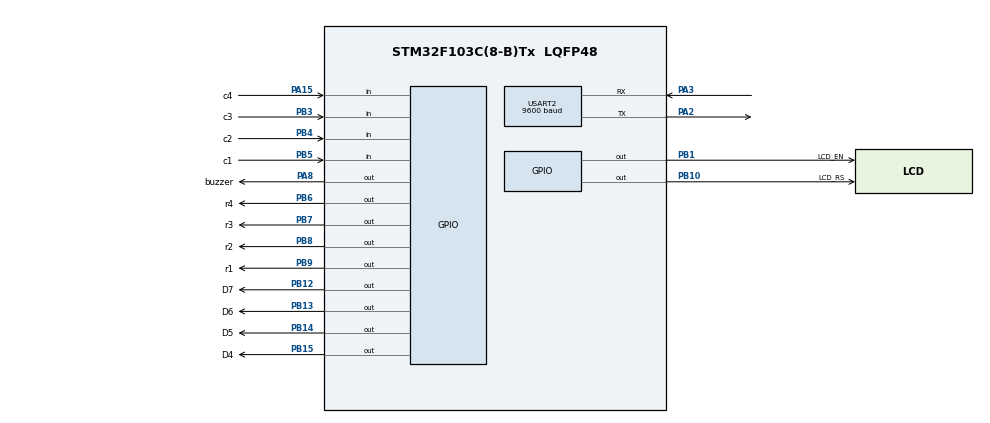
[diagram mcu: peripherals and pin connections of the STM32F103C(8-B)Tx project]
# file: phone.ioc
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Mcu.Family=STM32F1
Mcu.Name=STM32F103C(8-B)Tx
Mcu.Package=LQFP48
NVIC.PriorityGroup=NVIC_PRIORITYGROUP_4
NVIC.TIM2_IRQn=true\:0\:0\:false\:false\:true\:true\:true\:true
NVIC.TIM3_IRQn=true\:0\:0\:false\:false\:true\:true\:true\:true
NVIC.USART2_IRQn=true\:0\:0\:false\:false\:true\:true\:true\:true
PA13.Mode=Serial_Wire
PA13.Signal=SYS_JTMS-SWDIO
PA14.Mode=Serial_Wire
PA14.Signal=SYS_JTCK-SWCLK
PA15.GPIO_Label=c4
PA15.GPIO_PuPd=GPIO_PULLUP
PA15.Signal=GPIO_Input
PA2.Mode=Asynchronous
PA2.Signal=USART2_TX
PA3.Mode=Asynchronous
PA3.Signal=USART2_RX
PA8.GPIO_Label=buzzer
PA8.Signal=GPIO_Output
PB1.GPIO_Label=LCD_EN
PB1.Signal=GPIO_Output
PB10.GPIO_Label=LCD_RS
PB10.Signal=GPIO_Output
PB12.GPIO_Label=D7
PB12.Signal=GPIO_Output
PB13.GPIO_Label=D6
PB13.Signal=GPIO_Output
PB14.GPIO_Label=D5
PB14.Signal=GPIO_Output
PB15.GPIO_Label=D4
PB15.Signal=GPIO_Output
PB3.GPIO_Label=c3
PB3.GPIO_PuPd=GPIO_PULLUP
PB3.Signal=GPIO_Input
PB4.GPIO_Label=c2
PB4.GPIO_PuPd=GPIO_PULLUP
PB4.Signal=GPIO_Input
PB5.GPIO_Label=c1
PB5.GPIO_PuPd=GPIO_PULLUP
PB5.Signal=GPIO_Input
PB6.GPIO_Label=r4
PB6.Signal=GPIO_Output
PB7.GPIO_Label=r3
PB7.Signal=GPIO_Output
PB8.GPIO_Label=r2
PB8.Signal=GPIO_Output
PB9.GPIO_Label=r1
PB9.Signal=GPIO_Output
PD0-OSC_IN.Mode=HSE-External-Oscillator
PD0-OSC_IN.Signal=RCC_OSC_IN
PD1-OSC_OUT.Mode=HSE-External-Oscillator
PD1-OSC_OUT.Signal=RCC_OSC_OUT
ProjectManager.HeapSize=0x200
ProjectManager.StackSize=0x400
ProjectManager.TargetToolchain=STM32CubeIDE
RCC.APB1Freq_Value=8000000
RCC.APB2Freq_Value=8000000
TIM2.AutoReloadPreload=TIM_AUTORELOAD_PRELOAD_ENABLE
TIM2.Period=50
TIM2.Prescaler=35999
TIM3.AutoReloadPreload=TIM_AUTORELOAD_PRELOAD_ENABLE
TIM3.Period=720
TIM3.Prescaler=8999
USART2.BaudRate=9600
USART2.VirtualMode=VM_ASYNC
VP_TIM2_VS_ClockSourceINT.Mode=Internal
VP_TIM3_VS_ClockSourceINT.Mode=Internal
board=custom

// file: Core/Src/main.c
/* USER CODE BEGIN Header */
/**
  ******************************************************************************
  * @file           : main.c
  * @brief          : Main program body
  ******************************************************************************
  * @attention
  *
  * Copyright (c) 2023 STMicroelectronics.
  * All rights reserved.
  *
  * This software is licensed under terms that can be found in the LICENSE file
  * in the root directory of this software component.
  * If no LICENSE file comes with this software, it is provided AS-IS.
  *
  ******************************************************************************
  */
/* USER CODE END Header */
#include "main.h"

/* USER CODE BEGIN Includes */
#include <string.h>
#include "../Inc/lcd.h"
#include "../Inc/keypad_4x4.h"

/* USER CODE END Includes */

TIM_HandleTypeDef htim2;
TIM_HandleTypeDef htim3;

UART_HandleTypeDef huart2;

/* USER CODE BEGIN PV */

// LCD
LCD_t Lcd;

// Keyboard
uint8_t keyboard;
char number[11];
uint8_t posArray = 0;

// Comming call
uint8_t incomingCallRX[20];

// I check the conection
uint8_t checkConectionRX[15];
uint8_t hasConnection = 1;

// Call
uint8_t isCallRX[20];
uint8_t cont = 0;

// Main menu
uint8_t flag = 1;

/* USER CODE END PV */

void SystemClock_Config(void);
static void MX_GPIO_Init(void);
static void MX_USART2_UART_Init(void);
static void MX_TIM2_Init(void);
static void MX_TIM3_Init(void);
/* USER CODE BEGIN PFP */
void initialScreen();
void connectionSIM808();
int isFinishedCall();
void endCall();
/* USER CODE END PFP */

int main(void)
{

  /* MCU Configuration--------------------------------------------------------*/

  /* Reset of all peripherals, Initializes the Flash interface and the Systick. */
  HAL_Init();

  /* Configure the system clock */
  SystemClock_Config();

  /* Initialize all configured peripherals */
  MX_GPIO_Init();
  MX_USART2_UART_Init();
  MX_TIM2_Init();
  MX_TIM3_Init();
  /* USER CODE BEGIN 2 */

  Lcd.RS_port = LCD_RS_GPIO_Port;
  Lcd.RS_pin = LCD_RS_Pin;
  Lcd.EN_port = LCD_EN_GPIO_Port;
  Lcd.EN_pin = LCD_EN_Pin;
  Lcd.D4_port = D4_GPIO_Port;
  Lcd.D4_pin = D4_Pin;
  Lcd.D5_port = D5_GPIO_Port;
  Lcd.D5_pin = D5_Pin;
  Lcd.D6_port = D6_GPIO_Port;
  Lcd.D6_pin = D6_Pin;
  Lcd.D7_port = D7_GPIO_Port;
  Lcd.D7_pin = D7_Pin;

  lcd_begin(&Lcd, 16, 2, LCD_5x8DOTS);

  	memset(incomingCallRX, 0, sizeof(incomingCallRX));

  	// Calling Line Identification Presentation
	char at_command[] = "AT+CLIP=1\r\n";
	HAL_UART_Transmit(&huart2, (uint8_t*)at_command, strlen(at_command), HAL_MAX_DELAY);

	// I check the connection
  	connectionSIM808();
  /* USER CODE END 2 */

  /* Infinite loop */
  /* USER CODE BEGIN WHILE */

    /* Infinite loop */
    /* USER CODE BEGIN WHILE */
    while (1)
    {
    	 keyboard = Keypad_Get_Char();
    	    if(hasConnection == 1){
    	    	if(flag == 1){
    	    		initialScreen();
    	    		flag = 0;
    	    	}

    	    	if(HAL_UART_Receive_IT(&huart2, incomingCallRX, sizeof(incomingCallRX)) == HAL_OK){
    	    		if(strstr((char*)incomingCallRX, "+CLIP:")){
    	    			HAL_TIM_Base_Start_IT(&htim2);
    	    			HAL_TIM_Base_Start_IT(&htim3);
    	    			lcd_clear(&Lcd);
    	    			lcd_home(&Lcd);
    	    			lcd_print(&Lcd, "Llamada!!!");
    	    			lcd_setCursor(&Lcd, 0, 1);
    	    			while(1){
    	    				keyboard = Keypad_Get_Char();

    	    				if(cont == 15){
    	    					HAL_TIM_Base_Stop_IT(&htim2);
    	    					HAL_TIM_Base_Stop_IT(&htim3);
    	    					HAL_GPIO_WritePin(buzzer_GPIO_Port, buzzer_Pin, 0);
    	    					cont= 0;
    	    					endCall();
    	    					break;
    	    				}

    	    				if(keyboard == 'A'){
    	    					char at[6] = "ATH0\r\n";
    	    					HAL_UART_Transmit(&huart2, (uint8_t*)at, strlen(at), HAL_MAX_DELAY);
    	    					HAL_TIM_Base_Stop_IT(&htim2);
    	    					HAL_GPIO_WritePin(buzzer_GPIO_Port, buzzer_Pin, 0);
    	    					flag = 1;
    	    					break;
    	    				}
    	    				if(keyboard == 'D'){

    	    					HAL_TIM_Base_Stop_IT(&htim2);
    	    					HAL_GPIO_WritePin(buzzer_GPIO_Port, buzzer_Pin, 0);
    	    					lcd_clear(&Lcd);
    	    					lcd_home(&Lcd);

    	    					if(isFinishedCall() == 0){
    	    						lcd_print(&Lcd, "LLamada en");
    	    						lcd_setCursor(&Lcd, 0, 1);
    	    						lcd_print(&Lcd, "curso");

    	    					} else{
    	    						lcd_print(&Lcd, "LLamada");
    	    						lcd_setCursor(&Lcd, 0, 1);
    	    						lcd_print(&Lcd, "finalizada");
    	    						HAL_Delay(2000);
    	    						flag = 1;
    	    					}
    	    					while(1){
    	    						if(flag == 1){
    	    							break;
    	    						}
    	    						keyboard = Keypad_Get_Char();
    	    						if(keyboard == 'A'){
    	    							char at[5] = "ATH\r\n";
    	    							HAL_UART_Transmit(&huart2, (uint8_t*)at, strlen(at), HAL_MAX_DELAY);
    	    							flag = 1;
    	    							break;
    	    						}
    	    					}
    	    				}
    	    			}
    	    		}
    	    	}

    	    if((keyboard == '0' || keyboard == '1' || keyboard == '2' ||
    	    	keyboard == '3' || keyboard == '4' || keyboard == '5' ||
				keyboard == '6' || keyboard == '7' || keyboard == '8' ||
				keyboard == '9') && posArray < 10 ){
    	    		number[posArray] = keyboard;
    	    		number[posArray + 1] = '\0';
    	    		posArray++;

    	    	lcd_write(&Lcd, keyboard);
    	    }

    	    if(keyboard == 'D'){
    	    	connectionSIM808();
    	    	if(posArray == 10){
    	    		char at_command[15] = "ATD";
    	    		strcat(at_command, number);
    	    		at_command[13] = ';';
    	    		at_command[14] = '\0';
    	    		at_command[14] = 0x0d;
    	    		HAL_UART_Transmit(&huart2, (uint8_t*)at_command, strlen(at_command), HAL_MAX_DELAY);
    	    		HAL_TIM_Base_Start_IT(&htim3);
    	    		lcd_clear(&Lcd);
    	    		lcd_home(&Lcd);
    	    		lcd_print(&Lcd, "Marcando...");
    	    		lcd_setCursor(&Lcd, 0, 2);
    	    		lcd_print(&Lcd, number);
    	    		while(1){

    	    			keyboard = Keypad_Get_Char();
    	    			if(cont == 20){
    	    				HAL_TIM_Base_Stop_IT(&htim3);
    	    				cont= 0;
    	    				endCall();
    	    				break;
    	    			}
    	    			if(keyboard == 'A'){
    	    				endCall();
    	    				break;
    	    			}
    	    		}

    	    	}

    	    }
    	    if(keyboard == 'A'){
    	    	if (posArray > 0) {
    	    		posArray--;
    	    		number[posArray] = '\0';
    	    		lcd_clearRow1(&Lcd);
    	    		lcd_print(&Lcd,number);
    	    	}
    	    }

    	    	} else{
    	    		if(keyboard == '*'){
    	    			connectionSIM808();
    	    	}
    	    }
    /* USER CODE END WHILE */

    }
}

void initialScreen(){
	lcd_clear(&Lcd);
	lcd_home(&Lcd);
	lcd_print(&Lcd, "Numero:");
	lcd_cursor(&Lcd);
	lcd_setCursor(&Lcd, 0, 1);
	lcd_blink(&Lcd);
}

void connectionSIM808(){

	HAL_UART_Receive(&huart2, checkConectionRX, sizeof(checkConectionRX), 20);
	char at_command[] = "AT\r\n";
	  	HAL_UART_Transmit(&huart2, (uint8_t*)at_command, strlen(at_command), HAL_MAX_DELAY);
		HAL_UART_Receive(&huart2, checkConectionRX, 20,1000);
	if(strstr((char*)checkConectionRX, "OK") != NULL){
		hasConnection = 1;
	} else{
		lcd_clear(&Lcd);
				lcd_home(&Lcd);
				lcd_print(&Lcd, "Conectando...");
				lcd_setCursor(&Lcd, 0, 1);
				lcd_print(&Lcd, "Presiona *");
				hasConnection = 0;

	}

}

int isFinishedCall(){

	HAL_UART_Receive(&huart2, isCallRX, 20, 20);
	char at_command[] = "ATA\r\n";
	  	HAL_UART_Transmit(&huart2, (uint8_t*)at_command, strlen(at_command), HAL_MAX_DELAY);
		HAL_UART_Receive(&huart2, isCallRX, 20,1500);
	if(strstr((char*)isCallRX, "ERROR") != NULL){
		return 1;
	} else{
		return 0;
	}

}

void endCall(){
	char at_command[] = "ATH0\r\n";
	HAL_UART_Transmit(&huart2, (uint8_t*)at_command, strlen(at_command), HAL_MAX_DELAY);
	for (int i = 0; i < 10; i++) {
		number[i] = '\0';
	}
	posArray = 0;
	flag = 1;
}

void SystemClock_Config(void)
{
  RCC_OscInitTypeDef RCC_OscInitStruct = {0};
  RCC_ClkInitTypeDef RCC_ClkInitStruct = {0};

  /** Initializes the RCC Oscillators according to the specified parameters
  * in the RCC_OscInitTypeDef structure.
  */
  RCC_OscInitStruct.OscillatorType = RCC_OSCILLATORTYPE_HSI;
  RCC_OscInitStruct.HSIState = RCC_HSI_ON;
  RCC_OscInitStruct.HSICalibrationValue = RCC_HSICALIBRATION_DEFAULT;
  RCC_OscInitStruct.PLL.PLLState = RCC_PLL_NONE;
  if (HAL_RCC_OscConfig(&RCC_OscInitStruct) != HAL_OK)
  {
    Error_Handler();
  }

  /** Initializes the CPU, AHB and APB buses clocks
  */
  RCC_ClkInitStruct.ClockType = RCC_CLOCKTYPE_HCLK|RCC_CLOCKTYPE_SYSCLK
                              |RCC_CLOCKTYPE_PCLK1|RCC_CLOCKTYPE_PCLK2;
  RCC_ClkInitStruct.SYSCLKSource = RCC_SYSCLKSOURCE_HSI;
  RCC_ClkInitStruct.AHBCLKDivider = RCC_SYSCLK_DIV1;
  RCC_ClkInitStruct.APB1CLKDivider = RCC_HCLK_DIV1;
  RCC_ClkInitStruct.APB2CLKDivider = RCC_HCLK_DIV1;

  if (HAL_RCC_ClockConfig(&RCC_ClkInitStruct, FLASH_LATENCY_0) != HAL_OK)
  {
    Error_Handler();
  }
}

static void MX_TIM2_Init(void)
{

  TIM_ClockConfigTypeDef sClockSourceConfig = {0};
  TIM_MasterConfigTypeDef sMasterConfig = {0};

  htim2.Instance = TIM2;
  htim2.Init.Prescaler = 35999;
  htim2.Init.CounterMode = TIM_COUNTERMODE_UP;
  htim2.Init.Period = 50;
  htim2.Init.ClockDivision = TIM_CLOCKDIVISION_DIV1;
  htim2.Init.AutoReloadPreload = TIM_AUTORELOAD_PRELOAD_ENABLE;
  if (HAL_TIM_Base_Init(&htim2) != HAL_OK)
  {
    Error_Handler();
  }
  sClockSourceConfig.ClockSource = TIM_CLOCKSOURCE_INTERNAL;
  if (HAL_TIM_ConfigClockSource(&htim2, &sClockSourceConfig) != HAL_OK)
  {
    Error_Handler();
  }
  sMasterConfig.MasterOutputTrigger = TIM_TRGO_RESET;
  sMasterConfig.MasterSlaveMode = TIM_MASTERSLAVEMODE_DISABLE;
  if (HAL_TIMEx_MasterConfigSynchronization(&htim2, &sMasterConfig) != HAL_OK)
  {
    Error_Handler();
  }

}

static void MX_TIM3_Init(void)
{

  TIM_ClockConfigTypeDef sClockSourceConfig = {0};
  TIM_MasterConfigTypeDef sMasterConfig = {0};

  htim3.Instance = TIM3;
  htim3.Init.Prescaler = 8999;
  htim3.Init.CounterMode = TIM_COUNTERMODE_UP;
  htim3.Init.Period = 999;
  htim3.Init.ClockDivision = TIM_CLOCKDIVISION_DIV1;
  htim3.Init.AutoReloadPreload = TIM_AUTORELOAD_PRELOAD_ENABLE;
  if (HAL_TIM_Base_Init(&htim3) != HAL_OK)
  {
    Error_Handler();
  }
  sClockSourceConfig.ClockSource = TIM_CLOCKSOURCE_INTERNAL;
  if (HAL_TIM_ConfigClockSource(&htim3, &sClockSourceConfig) != HAL_OK)
  {
    Error_Handler();
  }
  sMasterConfig.MasterOutputTrigger = TIM_TRGO_RESET;
  sMasterConfig.MasterSlaveMode = TIM_MASTERSLAVEMODE_DISABLE;
  if (HAL_TIMEx_MasterConfigSynchronization(&htim3, &sMasterConfig) != HAL_OK)
  {
    Error_Handler();
  }

}

static void MX_USART2_UART_Init(void)
{

  huart2.Instance = USART2;
  huart2.Init.BaudRate = 9600;
  huart2.Init.WordLength = UART_WORDLENGTH_8B;
  huart2.Init.StopBits = UART_STOPBITS_1;
  huart2.Init.Parity = UART_PARITY_NONE;
  huart2.Init.Mode = UART_MODE_TX_RX;
  huart2.Init.HwFlowCtl = UART_HWCONTROL_NONE;
  huart2.Init.OverSampling = UART_OVERSAMPLING_16;
  if (HAL_UART_Init(&huart2) != HAL_OK)
  {
    Error_Handler();
  }

}

static void MX_GPIO_Init(void)
{
  GPIO_InitTypeDef GPIO_InitStruct = {0};

  /* GPIO Ports Clock Enable */
  __HAL_RCC_GPIOD_CLK_ENABLE();
  __HAL_RCC_GPIOA_CLK_ENABLE();
  __HAL_RCC_GPIOB_CLK_ENABLE();

  /*Configure GPIO pin Output Level */
  HAL_GPIO_WritePin(GPIOB, LCD_EN_Pin|LCD_RS_Pin|D7_Pin|D6_Pin
                          |D5_Pin|D4_Pin|r4_Pin|r3_Pin
                          |r2_Pin|r1_Pin, GPIO_PIN_RESET);

  /*Configure GPIO pin Output Level */
  HAL_GPIO_WritePin(buzzer_GPIO_Port, buzzer_Pin, GPIO_PIN_RESET);

  /*Configure GPIO pins : LCD_EN_Pin LCD_RS_Pin D7_Pin D6_Pin
                           D5_Pin D4_Pin r4_Pin r3_Pin
                           r2_Pin r1_Pin */
  GPIO_InitStruct.Pin = LCD_EN_Pin|LCD_RS_Pin|D7_Pin|D6_Pin
                          |D5_Pin|D4_Pin|r4_Pin|r3_Pin
                          |r2_Pin|r1_Pin;
  GPIO_InitStruct.Mode = GPIO_MODE_OUTPUT_PP;
  GPIO_InitStruct.Pull = GPIO_NOPULL;
  GPIO_InitStruct.Speed = GPIO_SPEED_FREQ_LOW;
  HAL_GPIO_Init(GPIOB, &GPIO_InitStruct);

  /*Configure GPIO pin : buzzer_Pin */
  GPIO_InitStruct.Pin = buzzer_Pin;
  GPIO_InitStruct.Mode = GPIO_MODE_OUTPUT_PP;
  GPIO_InitStruct.Pull = GPIO_NOPULL;
  GPIO_InitStruct.Speed = GPIO_SPEED_FREQ_LOW;
  HAL_GPIO_Init(buzzer_GPIO_Port, &GPIO_InitStruct);

  /*Configure GPIO pin : c4_Pin */
  GPIO_InitStruct.Pin = c4_Pin;
  GPIO_InitStruct.Mode = GPIO_MODE_INPUT;
  GPIO_InitStruct.Pull = GPIO_PULLUP;
  HAL_GPIO_Init(c4_GPIO_Port, &GPIO_InitStruct);

  /*Configure GPIO pins : c3_Pin c2_Pin c1_Pin */
  GPIO_InitStruct.Pin = c3_Pin|c2_Pin|c1_Pin;
  GPIO_InitStruct.Mode = GPIO_MODE_INPUT;
  GPIO_InitStruct.Pull = GPIO_PULLUP;
  HAL_GPIO_Init(GPIOB, &GPIO_InitStruct);

}

/* USER CODE BEGIN 4 */

void HAL_TIM_PeriodElapsedCallback(TIM_HandleTypeDef *htim)
{
  /* Prevent unused argument(s) compilation warning */
  if(htim->Instance == TIM2){
	  HAL_GPIO_TogglePin(buzzer_GPIO_Port, buzzer_Pin);
  }

  if(htim->Instance == TIM3){
	  cont++;
  }

}

/* USER CODE END 4 */

void Error_Handler(void)
{
  __disable_irq();
  while (1)
  {
  }
}
